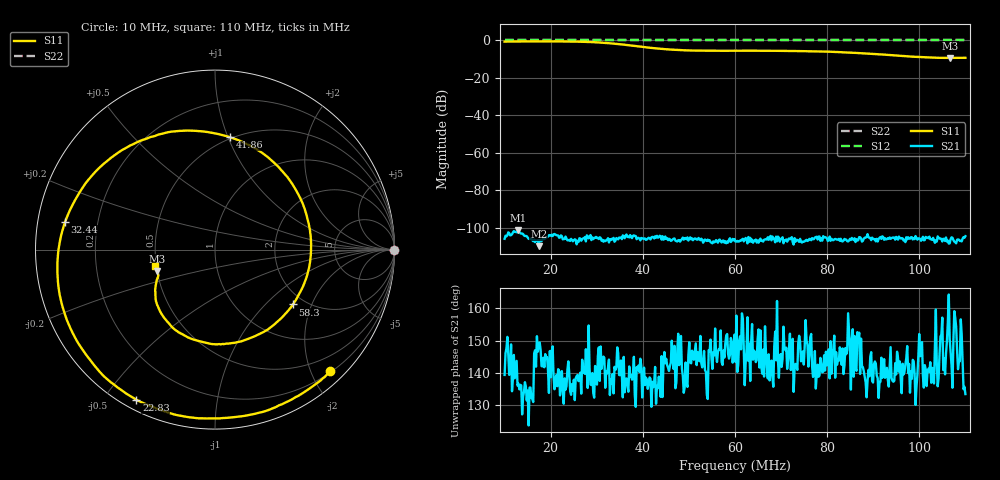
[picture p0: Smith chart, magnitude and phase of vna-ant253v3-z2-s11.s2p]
! Anritsu VNA Master:  Model: MS2034B/10/19/501
! SN:  1337062
! /bd0/ant253v3-z2-s11.s2p
! Existing Calibration Information:
! TYPE:  Current Settings,  Active Cal Settings
! TIME:  01/14/2016 06:09:50 PM,  01/14/2016 05:59:35 PM
! INTERNAL TEMP:  38.3 C,  40.5 C
! # POINTS:  500,  500
! START FREQ:  10.000 MHz,  10.000 MHz
! STOP FREQ:  110.000 MHz,  110.000 MHz
! SOURCE POWER:  High,  High
! IFBW:  100 Hz,  100 Hz
! AVG FACTOR:  4 ,  4
! REF PLANE 1:  0 mm,  0 mm
! REF PLANE 2:  0 mm,  0 mm
! CAL TYPE:  Full S11,  Full S11
! CAL METHOD:  SOLT,  SOLT
! CAL LINE TYPE:  Coax,  Coax
! DUT PORT 1:  K-Conn(M),  K-Conn(M)
! DUT PORT 2:  N-Conn(M),  N-Conn(M)
! CAL STATUS:  OK: Accuracy High,  --
# GHZ S DB R 50.0
! FREQ.GHZ  S11DB  S11A  S21DB  S21A  S12DB  S12A  S22DB  S22A
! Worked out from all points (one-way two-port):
!   500 points, 10 MHz to 110 MHz, reference 50 ohm
!   highest |S21| = -101.33 dB at 13.01 MHz (marker M1); lowest = -109.8 dB at 17.41 MHz (marker M2)
!   lowest |S11| = -9.3 dB at 106.6 MHz (marker M3), VSWR 2.04, Z = 25.1 - j6.78 ohm
!   |S11| at or under -10 dB: nowhere
!   |S22| runs from 0.0 to 0.0 dB; largest |S21 - S12| = 1
!   S11 on the Smith chart (normalised r, x): 10 MHz: 0.22, -2.32; 22.83 MHz: 0.04, -0.60; 32.44 MHz: 0.08, +0.09; 41.86 MHz: 0.49, +1.02; 58.3 MHz: 1.74, -1.48; 110 MHz: 0.49, -0.10
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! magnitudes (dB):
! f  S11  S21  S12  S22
! 10 MHz  -0.6  -105.8  0.0  0.0
! 13.01 MHz  -0.6  -101.3  0.0  0.0
! 17.41 MHz  -0.5  -109.8  0.0  0.0
! 22.83 MHz  -0.5  -106.0  0.0  0.0
! 26.83 MHz  -0.7  -106.0  0.0  0.0
! 29.44 MHz  -0.9  -105.4  0.0  0.0
! 32.44 MHz  -1.4  -105.5  0.0  0.0
! 35.45 MHz  -2.1  -106.1  0.0  0.0
! 41.86 MHz  -4.0  -105.0  0.0  0.0
! 43.47 MHz  -4.4  -105.0  0.0  0.0
! 45.87 MHz  -4.8  -106.1  0.0  0.0
! 49.68 MHz  -5.3  -105.1  0.0  0.0
! 58.3 MHz  -5.5  -107.3  0.0  0.0
! 60.1 MHz  -5.5  -107.3  0.0  0.0
! 71.92 MHz  -5.6  -106.1  0.0  0.0
! 76.73 MHz  -5.8  -105.5  0.0  0.0
! 81.94 MHz  -6.1  -106.1  0.0  0.0
! 90.36 MHz  -7.2  -106.0  0.0  0.0
! 93.37 MHz  -7.8  -105.8  0.0  0.0
! 101.8 MHz  -9.1  -105.2  0.0  0.0
! 106.6 MHz  -9.3  -108.3  0.0  0.0
! 110 MHz  -9.2  -104.5  0.0  0.0
